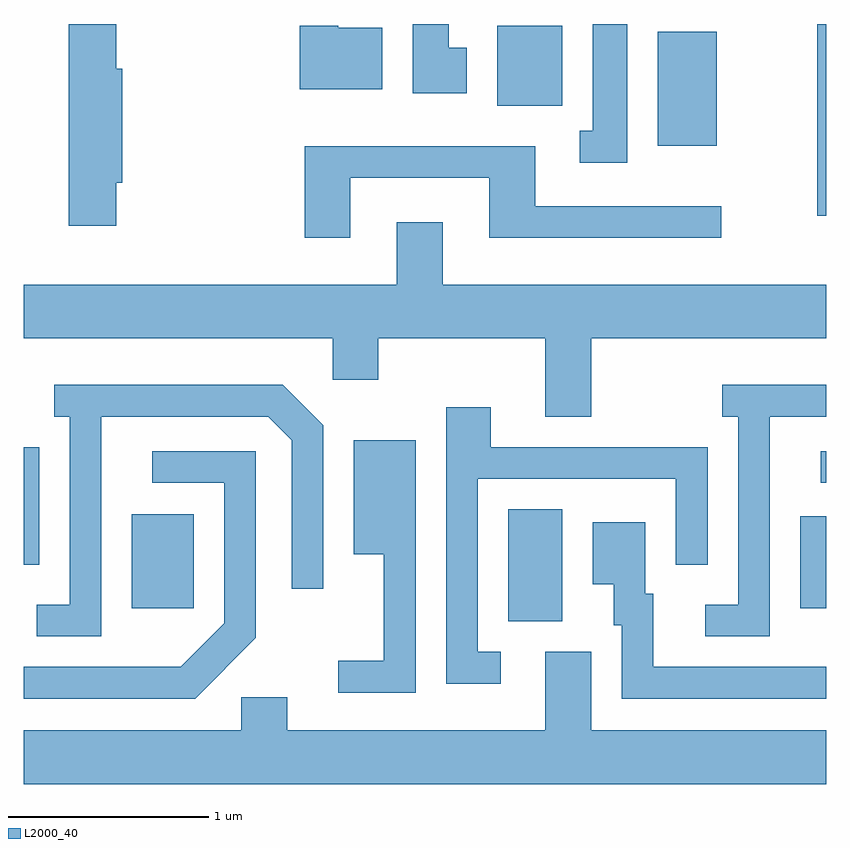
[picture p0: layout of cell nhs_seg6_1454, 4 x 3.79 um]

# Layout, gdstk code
import gdstk
lib = gdstk.Library(unit=1e-6, precision=1e-09)
def R(c, l, rs):  # rectangles x0, y0, x1, y1
    for r in rs: c.add(gdstk.rectangle(r[:2], r[2:], *l))
def P(c, l, *ps):  # polygons
    for p in ps: c.add(gdstk.Polygon(p, *l))
L2000_40 = (2000, 40)

nhs_seg6_1454 = lib.new_cell('nhs_seg6_1454')
R(nhs_seg6_1454, L2000_40, [(230.026,1655.186,230.294,1655.744), (228.151,1655.251,228.459,1655.719), (231.481,1655.251,231.611,1655.709), (227.611,1655.468,227.689,1656.054), (231.583,1655.876,231.611,1656.034), (231.566,1657.206,231.611,1658.162), (230.771,1657.556,231.064,1658.124), (229.971,1657.756,230.294,1658.154)])
P(nhs_seg6_1454, L2000_40, [(230.619,1658.162),(230.446,1658.162),(230.446,1657.629),(230.383,1657.629),(230.383,1657.471),(230.619,1657.471)],
  [(228.074,1657.371),(228.104,1657.371),(228.104,1657.939),(228.074,1657.939),(228.074,1658.162),(227.836,1658.162),(227.836,1657.156),(228.074,1657.156)],
  [(229.819,1658.044),(229.729,1658.044),(229.729,1658.162),(229.551,1658.162),(229.551,1657.816),(229.819,1657.816)],
  [(229.399,1658.144),(229.18,1658.144),(229.18,1658.154),(228.986,1658.154),(228.986,1657.836),(229.399,1657.836)],
  [(229.239,1657.396),(229.931,1657.396),(229.931,1657.096),(231.088,1657.096),(231.088,1657.254),(230.159,1657.254),(230.159,1657.554),(229.011,1657.554),(229.011,1657.096),(229.239,1657.096)],
  [(230.439,1656.596),(231.611,1656.596),(231.611,1656.864),(229.699,1656.864),(229.699,1657.174),(229.471,1657.174),(229.471,1656.864),(227.611,1656.864),(227.611,1656.596),(229.151,1656.596),(229.151,1656.391),(229.379,1656.391),(229.379,1656.596),(230.211,1656.596),(230.211,1656.206),(230.439,1656.206)],
  [(227.999,1656.206),(228.829,1656.206),(228.946,1656.089),(228.946,1655.348),(229.104,1655.348),(229.104,1656.162),(228.902,1656.364),(227.763,1656.364),(227.763,1656.206),(227.841,1656.206),(227.841,1655.269),(227.678,1655.269),(227.678,1655.111),(227.999,1655.111)],
  [(231.329,1656.206),(231.611,1656.206),(231.611,1656.364),(231.093,1656.364),(231.093,1656.206),(231.171,1656.206),(231.171,1655.269),(231.008,1655.269),(231.008,1655.111),(231.329,1655.111)],
  [(229.988,1655.034),(229.874,1655.034),(229.874,1655.896),(230.861,1655.896),(230.861,1655.468),(231.019,1655.468),(231.019,1656.054),(229.939,1656.054),(229.939,1656.254),(229.716,1656.254),(229.716,1654.876),(229.988,1654.876)],
  [(229.564,1656.089),(229.256,1656.089),(229.256,1655.521),(229.406,1655.521),(229.406,1654.989),(229.178,1654.989),(229.178,1654.831),(229.564,1654.831)],
  [(228.769,1655.104),(228.769,1656.034),(228.253,1656.034),(228.253,1655.876),(228.611,1655.876),(228.611,1655.177),(228.394,1654.959),(227.611,1654.959),(227.611,1654.801),(228.467,1654.801)],
  [(231.611,1654.959),(230.749,1654.959),(230.749,1655.324),(230.709,1655.324),(230.709,1655.679),(230.446,1655.679),(230.446,1655.371),(230.551,1655.371),(230.551,1655.166),(230.591,1655.166),(230.591,1654.801),(231.611,1654.801)],
  [(231.611,1654.644),(230.439,1654.644),(230.439,1655.034),(230.211,1655.034),(230.211,1654.644),(228.924,1654.644),(228.924,1654.809),(228.696,1654.809),(228.696,1654.644),(227.611,1654.644),(227.611,1654.376),(231.611,1654.376)])

lib.write_gds('nhs_seg6_1454.gds')
